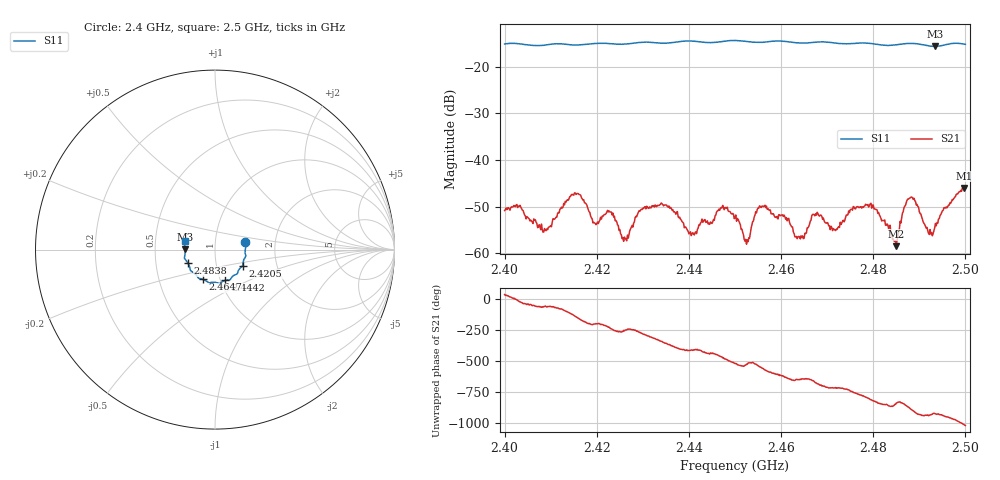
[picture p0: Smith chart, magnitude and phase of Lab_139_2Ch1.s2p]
# Hz S RI R 50
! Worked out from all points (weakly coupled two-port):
!   601 points, 2.4 GHz to 2.5 GHz, reference 50 ohm
!   highest |S21| = -46.04 dB at 2.4997 GHz (marker M1); lowest = -58.5 dB at 2.485 GHz (marker M2)
!   lowest |S11| = -15.7 dB at 2.4935 GHz (marker M3), VSWR 1.39, Z = 35.9 + j0.12 ohm
!   |S11| at or under -10 dB: start of sweep to end of sweep
!   S12 and S22 are empty: the file has one direction only
!   S11 on the Smith chart (normalised r, x): 2.4 GHz: 1.40, +0.12; 2.4205 GHz: 1.34, -0.25; 2.4442 GHz: 1.06, -0.37; 2.4647 GHz: 0.83, -0.29; 2.4838 GHz: 0.73, -0.11; 2.5 GHz: 0.71, +0.07
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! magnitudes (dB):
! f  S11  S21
! 2.4 GHz  -15.2  -50.9
! 2.4088 GHz  -15.4  -55.1
! 2.4167 GHz  -15.3  -48.1
! 2.4205 GHz  -15.0  -53.2
! 2.423 GHz  -15.1  -51.2
! 2.426 GHz  -15.2  -56.6
! 2.4333 GHz  -15.0  -49.8
! 2.4442 GHz  -14.9  -53.7
! 2.45 GHz  -14.4  -52.4
! 2.4525 GHz  -14.6  -58.1
! 2.456 GHz  -14.8  -49.9
! 2.4647 GHz  -15.0  -56.3
! 2.4667 GHz  -14.8  -51.9
! 2.4717 GHz  -15.0  -55.0
! 2.479 GHz  -15.0  -50.1
! 2.4833 GHz  -15.5  -54.7
! 2.4838 GHz  -15.5  -55.7
! 2.485 GHz  -15.3  -58.5
! 2.488 GHz  -15.0  -48.2
! 2.4935 GHz  -15.7  -53.6
! 2.4997 GHz  -15.2  -46.0
! 2.5 GHz  -15.2  -46.1
